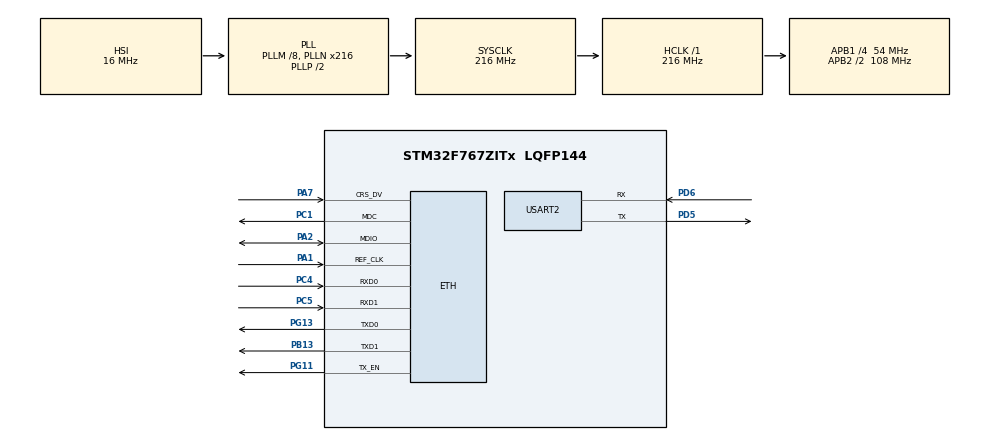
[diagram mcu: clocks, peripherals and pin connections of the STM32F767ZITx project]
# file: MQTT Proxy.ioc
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CORTEX_M7.ART_ACCLERATOR_ENABLE=1
CORTEX_M7.CPU_ICache=Enabled
CORTEX_M7.PREFETCH_ENABLE=1
ETH.MACAddr=82\:2C\:83\:2E\:7B\:5A
ETH.MediaInterface=ETH_MEDIA_INTERFACE_RMII
ETH.PhyAddress=0
FREERTOS.MEMORY_ALLOCATION=2
FREERTOS.Tasks01=defaultTask,0,256,StartDefaultTask,Default,NULL,Dynamic,NULL,NULL;uartTask,0,256,StartUartTask,Default,NULL,Dynamic,NULL,NULL
FREERTOS.configTOTAL_HEAP_SIZE=389120
FREERTOS.configUSE_TIMERS=1
LWIP.GATEWAY_ADDRESS=192.168.000.001
LWIP.IP_ADDRESS=192.168.000.110
LWIP.LWIP_DHCP=0
LWIP.LWIP_DNS=1
LWIP.MEM_SIZE=65536
LWIP.NETMASK_ADDRESS=255.255.255.000
LWIP.Version=v2.1.2_Cube
Mcu.Family=STM32F7
Mcu.Name=STM32F767ZITx
Mcu.Package=LQFP144
Mcu.UserConstants=MQTT_OUTPUT_RINGBUF_SIZE,57344;MQTT_REQ_MAX_IN_FLIGHT,15
NVIC.ETH_IRQn=true\:5\:0\:true\:false\:true\:false\:false\:true
NVIC.PriorityGroup=NVIC_PRIORITYGROUP_4
NVIC.TIM1_UP_TIM10_IRQn=true\:0\:0\:false\:false\:true\:false\:false\:true
NVIC.TimeBase=TIM1_UP_TIM10_IRQn
NVIC.TimeBaseIP=TIM1
NVIC.USART2_IRQn=true\:5\:0\:true\:false\:true\:false\:true\:true
PA1.GPIO_PuPd=GPIO_PULLUP
PA1.Mode=RMII
PA1.Signal=ETH_REF_CLK
PA13.Mode=Serial_Wire
PA13.Signal=SYS_JTMS-SWDIO
PA14.Mode=Serial_Wire
PA14.Signal=SYS_JTCK-SWCLK
PA2.GPIO_PuPd=GPIO_PULLUP
PA2.Mode=RMII
PA2.Signal=ETH_MDIO
PA7.GPIO_PuPd=GPIO_PULLUP
PA7.Mode=RMII
PA7.Signal=ETH_CRS_DV
PB13.GPIO_PuPd=GPIO_PULLUP
PB13.Mode=RMII
PB13.Signal=ETH_TXD1
PC1.GPIO_PuPd=GPIO_PULLUP
PC1.Mode=RMII
PC1.Signal=ETH_MDC
PC14/OSC32_IN.Mode=LSE-External-Oscillator
PC14/OSC32_IN.Signal=RCC_OSC32_IN
PC15/OSC32_OUT.Mode=LSE-External-Oscillator
PC15/OSC32_OUT.Signal=RCC_OSC32_OUT
PC4.GPIO_PuPd=GPIO_PULLUP
PC4.Mode=RMII
PC4.Signal=ETH_RXD0
PC5.GPIO_PuPd=GPIO_PULLUP
PC5.Mode=RMII
PC5.Signal=ETH_RXD1
PD5.Mode=Asynchronous
PD5.Signal=USART2_TX
PD6.Mode=Asynchronous
PD6.Signal=USART2_RX
PG11.GPIO_PuPd=GPIO_PULLUP
PG11.Mode=RMII
PG11.Signal=ETH_TX_EN
PG13.GPIO_PuPd=GPIO_PULLUP
PG13.Mode=RMII
PG13.Signal=ETH_TXD0
PH0/OSC_IN.Mode=HSE-External-Clock-Source
PH0/OSC_IN.Signal=RCC_OSC_IN
PH1/OSC_OUT.Mode=HSE-External-Clock-Source
PH1/OSC_OUT.Signal=RCC_OSC_OUT
ProjectManager.HeapSize=0x200
ProjectManager.StackSize=0x400
ProjectManager.TargetToolchain=STM32CubeIDE
RCC.AHBFreq_Value=216000000
RCC.APB1CLKDivider=RCC_HCLK_DIV4
RCC.APB1Freq_Value=54000000
RCC.APB1TimFreq_Value=108000000
RCC.APB2CLKDivider=RCC_HCLK_DIV2
RCC.APB2Freq_Value=108000000
RCC.APB2TimFreq_Value=216000000
RCC.CortexFreq_Value=216000000
RCC.HCLKFreq_Value=216000000
RCC.HSE_VALUE=25000000
RCC.HSI_VALUE=16000000
RCC.PLLM=8
RCC.PLLN=216
RCC.SYSCLKFreq_VALUE=216000000
RCC.SYSCLKSource=RCC_SYSCLKSOURCE_PLLCLK
RCC.USBFreq_Value=216000000
RCC.VCOOutputFreq_Value=432000000
USART2.VirtualMode-Asynchronous=VM_ASYNC
VP_FREERTOS_VS_CMSIS_V1.Mode=CMSIS_V1
VP_LWIP_VS_Enabled.Mode=Enabled
VP_SYS_VS_tim1.Mode=TIM1
board=custom

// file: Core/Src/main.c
/* USER CODE BEGIN Header */
/**
 ******************************************************************************
 * @file           : main.c
 * @brief          : Main program body
 ******************************************************************************
 * @attention
 *
 * <h2><center>&copy; Copyright (c) 2020 STMicroelectronics.
 * All rights reserved.</center></h2>
 *
 * This software component is licensed by ST under BSD 3-Clause license,
 * the "License"; You may not use this file except in compliance with the
 * License. You may obtain a copy of the License at:
 *                        opensource.org/licenses/BSD-3-Clause
 *
 ******************************************************************************
 */
/* USER CODE END Header */
#include "main.h"
#include "cmsis_os.h"
#include "lwip.h"

/* USER CODE BEGIN Includes */
#include <mqtt.h>
#include <stdio.h>
#include <string.h>
#include "stream_buffer.h"
#include "queue.h"
#include "semphr.h"
#include "timers.h"

#include "buffer.h"
#include "protocol_parser.h"
/* USER CODE END Includes */

/* USER CODE BEGIN PTD */

typedef struct {
	char *topicName;
	uint8_t *data;
	uint32_t dataLenght;
} MQTT_Protocol_t;

/* USER CODE END PTD */

/* USER CODE BEGIN PD */
#define LOG_HEAP 0
#define LOG_ENABLE 0

#define sbiSTREAM_BUFFER_LENGTH_BYTES		( ( size_t ) 100 )
#define sbiSTREAM_BUFFER_TRIGGER_LEVEL_1	( ( BaseType_t ) 1 )

#define qpeekQUEUE_LENGTH (20)

// MQTT_ONLINE_PUBLISH_PERIOD для отправки ID клиента в топик MQTT_ONLINE_TOPIC
#define MQTT_ONLINE_PUBLISH_PERIOD_MS	60000
#define MQTT_CLIENT_ID 					"f2c8eb77-ea6e-4411-bf14-b8a564d17a97"

// Online/Offline
#define MQTT_ONLINE_TOPIC 				"controllers/online"
#define MQTT_OFFLINE_TOPIC				"controllers/offline"

// Telemetry
#define MQTT_TELEMETRY_TOPIC 			MQTT_CLIENT_ID "/data/telemetry"

// Settings
#define MQTT_GET_SETTINGS_TOPIC 		MQTT_CLIENT_ID "/data/settings"
#define MQTT_SET_SETTINGS_TOPIC 		MQTT_CLIENT_ID "/action/settings"

// Gestures
#define MQTT_GET_GESTURES_TOPIC 		MQTT_CLIENT_ID "/data/gestures"
#define MQTT_SAVE_GESTURES_TOPIC 		MQTT_CLIENT_ID "/action/gestures"
#define MQTT_DELETE_GESTURES_TOPIC 		MQTT_CLIENT_ID "/action/gestures/remove"

// Perform gesture
#define MQTT_PERFORM_GESTURE_ID_TOPIC 	MQTT_CLIENT_ID "/action/performGestureId"
#define MQTT_PERFORM_GESTURE_RAW_TOPIC 	MQTT_CLIENT_ID "/action/performGestureRaw"
#define MQTT_SET_POSITIONS_TOPIC 		MQTT_CLIENT_ID "/action/positions"
/* USER CODE END PD */

UART_HandleTypeDef huart2;

osThreadId defaultTaskHandle;
osThreadId uartTaskHandle;
/* USER CODE BEGIN PV */

/* === UART PV === */
/* Receive data */
static uint8_t uartRxData;
/* The stream buffer that is used to send received data from an interrupt to the task. */
static StreamBufferHandle_t xStreamReceiveBuffer = NULL;
static QueueHandle_t xQueueUARTSendMessage = NULL;
static QueueHandle_t xQueueUARTReceiveMessage = NULL;
/* Stores the handle of the task that will be notified when UART receives data or receives a request to send data. */
static TaskHandle_t xTaskToNotifyUartSendAndReceive = NULL;
static TaskHandle_t xTaskToNotifyTelemetryReceive = NULL;
static ProtocolParserStruct protocolParser;

/* === MQTT PV === */
static QueueHandle_t xQueueMQTTSendMessage = NULL;
static QueueHandle_t xQueueMQTTReceiveMessage = NULL;
/* Stores the handle of the task that will be notified when MQTT receives data or receives a request to send data. */
static TaskHandle_t xTaskToNotifyMqttSendAndReceive = NULL;
static char *lastTopicMQTT;
static buffer_t *MQTTdataBuffer = NULL;
static SemaphoreHandle_t xSemaphoreMqttConnect;
static TimerHandle_t xOnlinePublishTimer;
static mqtt_client_t *client;

// TODO: global refactoring
static SemaphoreHandle_t xSemaphoreProsthesisConnect;

/* USER CODE END PV */

void SystemClock_Config(void);
static void MX_GPIO_Init(void);
static void MX_USART2_UART_Init(void);
void StartDefaultTask(void const *argument);
void StartUartTask(void const *argument);

/* USER CODE BEGIN PFP */
void StartProtocolParserTask(void *argument);
void vOnlinePublishCallback(TimerHandle_t xTimer);
/* USER CODE END PFP */

/* USER CODE BEGIN 0 */
int _write(int file, char *ptr, int len) {
	/* Implement your write code here, this is used by puts and printf for example */
	int i = 0;
	for (i = 0; i < len; i++)
		ITM_SendChar((*ptr++));
	return len;
}
/* USER CODE END 0 */

int main(void) {

	/* Enable I-Cache---------------------------------------------------------*/
	SCB_EnableICache();

	/* MCU Configuration--------------------------------------------------------*/

	/* Reset of all peripherals, Initializes the Flash interface and the Systick. */
	HAL_Init();

	/* Configure the system clock */
	SystemClock_Config();

	/* Initialize all configured peripherals */
	MX_GPIO_Init();
	MX_USART2_UART_Init();

	/* USER CODE BEGIN RTOS_SEMAPHORES */
	/* add semaphores, ... */
	xSemaphoreMqttConnect = xSemaphoreCreateBinary();
	xSemaphoreGive(xSemaphoreMqttConnect);

	xSemaphoreProsthesisConnect = xSemaphoreCreateBinary();
	/* USER CODE END RTOS_SEMAPHORES */

	/* USER CODE BEGIN RTOS_TIMERS */
	/* start timers, add new ones, ... */
	xOnlinePublishTimer = xTimerCreate("PublishTimer",
			pdMS_TO_TICKS(MQTT_ONLINE_PUBLISH_PERIOD_MS),
			pdTRUE, (void*) 0, vOnlinePublishCallback);
	/* USER CODE END RTOS_TIMERS */

	/* Create the thread(s) */
	/* definition and creation of defaultTask */
	osThreadDef(defaultTask, StartDefaultTask, osPriorityNormal, 0, 256);
	defaultTaskHandle = osThreadCreate(osThread(defaultTask), NULL);

	/* definition and creation of uartTask */
	osThreadDef(uartTask, StartUartTask, osPriorityNormal, 0, 256);
	uartTaskHandle = osThreadCreate(osThread(uartTask), NULL);

	/* Start scheduler */
	osKernelStart();

	/* We should never get here as control is now taken by the scheduler */
	/* Infinite loop */
	while (1) {

	}
}

void SystemClock_Config(void) {
	RCC_OscInitTypeDef RCC_OscInitStruct = { 0 };
	RCC_ClkInitTypeDef RCC_ClkInitStruct = { 0 };
	RCC_PeriphCLKInitTypeDef PeriphClkInitStruct = { 0 };

	/** Configure LSE Drive Capability
	 */
	HAL_PWR_EnableBkUpAccess();
	/** Configure the main internal regulator output voltage
	 */
	__HAL_RCC_PWR_CLK_ENABLE();
	__HAL_PWR_VOLTAGESCALING_CONFIG(PWR_REGULATOR_VOLTAGE_SCALE1);
	/** Initializes the RCC Oscillators according to the specified parameters
	 * in the RCC_OscInitTypeDef structure.
	 */
	RCC_OscInitStruct.OscillatorType = RCC_OSCILLATORTYPE_HSI;
	RCC_OscInitStruct.HSIState = RCC_HSI_ON;
	RCC_OscInitStruct.HSICalibrationValue = RCC_HSICALIBRATION_DEFAULT;
	RCC_OscInitStruct.PLL.PLLState = RCC_PLL_ON;
	RCC_OscInitStruct.PLL.PLLSource = RCC_PLLSOURCE_HSI;
	RCC_OscInitStruct.PLL.PLLM = 8;
	RCC_OscInitStruct.PLL.PLLN = 216;
	RCC_OscInitStruct.PLL.PLLP = RCC_PLLP_DIV2;
	RCC_OscInitStruct.PLL.PLLQ = 2;
	if (HAL_RCC_OscConfig(&RCC_OscInitStruct) != HAL_OK) {
		Error_Handler();
	}
	/** Activate the Over-Drive mode
	 */
	if (HAL_PWREx_EnableOverDrive() != HAL_OK) {
		Error_Handler();
	}
	/** Initializes the CPU, AHB and APB buses clocks
	 */
	RCC_ClkInitStruct.ClockType = RCC_CLOCKTYPE_HCLK | RCC_CLOCKTYPE_SYSCLK
			| RCC_CLOCKTYPE_PCLK1 | RCC_CLOCKTYPE_PCLK2;
	RCC_ClkInitStruct.SYSCLKSource = RCC_SYSCLKSOURCE_PLLCLK;
	RCC_ClkInitStruct.AHBCLKDivider = RCC_SYSCLK_DIV1;
	RCC_ClkInitStruct.APB1CLKDivider = RCC_HCLK_DIV4;
	RCC_ClkInitStruct.APB2CLKDivider = RCC_HCLK_DIV2;

	if (HAL_RCC_ClockConfig(&RCC_ClkInitStruct, FLASH_LATENCY_7) != HAL_OK) {
		Error_Handler();
	}
	PeriphClkInitStruct.PeriphClockSelection = RCC_PERIPHCLK_USART2;
	PeriphClkInitStruct.Usart2ClockSelection = RCC_USART2CLKSOURCE_PCLK1;
	if (HAL_RCCEx_PeriphCLKConfig(&PeriphClkInitStruct) != HAL_OK) {
		Error_Handler();
	}
}

static void MX_USART2_UART_Init(void) {

	huart2.Instance = USART2;
	huart2.Init.BaudRate = 115200;
	huart2.Init.WordLength = UART_WORDLENGTH_8B;
	huart2.Init.StopBits = UART_STOPBITS_1;
	huart2.Init.Parity = UART_PARITY_NONE;
	huart2.Init.Mode = UART_MODE_TX_RX;
	huart2.Init.HwFlowCtl = UART_HWCONTROL_NONE;
	huart2.Init.OverSampling = UART_OVERSAMPLING_16;
	huart2.Init.OneBitSampling = UART_ONE_BIT_SAMPLE_DISABLE;
	huart2.AdvancedInit.AdvFeatureInit = UART_ADVFEATURE_NO_INIT;
	if (HAL_UART_Init(&huart2) != HAL_OK) {
		Error_Handler();
	}

}

static void MX_GPIO_Init(void) {

	/* GPIO Ports Clock Enable */
	__HAL_RCC_GPIOC_CLK_ENABLE();
	__HAL_RCC_GPIOH_CLK_ENABLE();
	__HAL_RCC_GPIOA_CLK_ENABLE();
	__HAL_RCC_GPIOB_CLK_ENABLE();
	__HAL_RCC_GPIOD_CLK_ENABLE();
	__HAL_RCC_GPIOG_CLK_ENABLE();

}

/* USER CODE BEGIN 4 */
static char *input_topic;

static void mqtt_connection_cb(mqtt_client_t *client, void *arg,
		mqtt_connection_status_t status);
static void mqtt_sub_request_cb(void *arg, err_t result);
static void mqtt_incoming_publish_cb(void *arg, const char *topic,
		u32_t tot_len);
static void mqtt_incoming_data_cb(void *arg, const u8_t *data, u16_t len,
		u8_t flags);
static void mqtt_pub_request_cb(void *arg, err_t result);
void online_publish(mqtt_client_t *client, void *arg);

void mqtt_connect(mqtt_client_t *client) {
	struct mqtt_connect_client_info_t ci;
	err_t err;

#if( LOG_ENABLE == 1 )
	printf("mqtt_connect: start try to connect to 92.53.124.175:1883\n");
#endif
	/* Setup an empty client info structure */
	memset(&ci, 0, sizeof(ci));

	/* Minimal amount of information required is client identifier, so set it here */
	ci.client_id = MQTT_CLIENT_ID;
	ci.will_topic = MQTT_OFFLINE_TOPIC;
	ci.will_retain = 0;
	ci.will_qos = 2;
	ci.will_msg = MQTT_CLIENT_ID;

	ip_addr_t mqttServerIP;
	IP4_ADDR(&mqttServerIP, 92, 53, 124, 175);
	u16_t MQTT_PORT = 1883;

	/* Initiate client and connect to server, if this fails immediately an error code is returned
	 otherwise mqtt_connection_cb will be called with connection result after attempting
	 to establish a connection with the server.
	 For now MQTT version 3.1.1 is always used */

	err = mqtt_client_connect(client, &mqttServerIP, MQTT_PORT,
			mqtt_connection_cb, 0, &ci);

	/* For now just print the result code if something goes wrong */
	if (err != ERR_OK) {
#if( LOG_ENABLE == 1 )
		printf("mqtt_connect return %d\n", err);
#endif /* LOG */
	}
}

/**
 * Подключение прошло успешно.
 */
static void mqtt_connection_cb(mqtt_client_t *client, void *arg,
		mqtt_connection_status_t status) {
	err_t err;
	if (status == MQTT_CONNECT_ACCEPTED) {
#if( LOG_ENABLE == 1 )
		printf("mqtt_connection_cb: Successfully connected\n");
#endif /* LOG */

		/* Setup callback for incoming publish requests */
		mqtt_set_inpub_callback(client, mqtt_incoming_publish_cb,
				mqtt_incoming_data_cb, arg);

		// Подписываемся на все топики, которые нужны
		/* Subscribe to a topic named "serverData" with QoS level 1, call mqtt_sub_request_cb with result */
		err = mqtt_subscribe(client, MQTT_SET_SETTINGS_TOPIC, 1,
				mqtt_sub_request_cb, arg);

		if (err != ERR_OK) {
#if( LOG_ENABLE == 1 )
			printf(
					"MQTT_SET_SETTINGS_TOPIC mqtt_connection_cb: mqtt_subscribe return: %d\n",
					err);
#endif /* LOG */

			Error_Handler();
		}

		err = mqtt_subscribe(client, MQTT_SAVE_GESTURES_TOPIC, 1,
				mqtt_sub_request_cb, arg);

		if (err != ERR_OK) {
#if( LOG_ENABLE == 1 )
			printf(
					"MQTT_SAVE_GESTURES_TOPIC mqtt_connection_cb: mqtt_subscribe return: %d\n",
					err);
#endif /* LOG */
			Error_Handler();
		}

		err = mqtt_subscribe(client, MQTT_DELETE_GESTURES_TOPIC, 1,
				mqtt_sub_request_cb, arg);

		if (err != ERR_OK) {
#if( LOG_ENABLE == 1 )
			printf(
					"MQTT_DELETE_GESTURES_TOPIC mqtt_connection_cb: mqtt_subscribe return: %d\n",
					err);
#endif /* LOG */
			Error_Handler();
		}

		err = mqtt_subscribe(client, MQTT_PERFORM_GESTURE_ID_TOPIC, 1,
				mqtt_sub_request_cb, arg);

		if (err != ERR_OK) {
#if( LOG_ENABLE == 1 )
			printf(
					"MQTT_PERFORM_GESTURE_ID_TOPIC mqtt_connection_cb: mqtt_subscribe return: %d\n",
					err);
#endif /* LOG */
			Error_Handler();
		}

		err = mqtt_subscribe(client, MQTT_PERFORM_GESTURE_RAW_TOPIC, 1,
				mqtt_sub_request_cb, arg);

		if (err != ERR_OK) {
#if( LOG_ENABLE == 1 )
			printf(
					"MQTT_PERFORM_GESTURE_RAW_TOPIC mqtt_connection_cb: mqtt_subscribe return: %d\n",
					err);
#endif /* LOG */
			Error_Handler();
		}

		err = mqtt_subscribe(client, MQTT_SET_POSITIONS_TOPIC, 1,
				mqtt_sub_request_cb, arg);

		if (err != ERR_OK) {
#if( LOG_ENABLE == 1 )
			printf(
					"MQTT_SET_POSITIONS_TOPIC mqtt_connection_cb: mqtt_subscribe return: %d\n",
					err);
#endif /* LOG */
			Error_Handler();
		}

		if (xTimerStart( xOnlinePublishTimer, 500) == pdTRUE) {
#if( LOG_ENABLE == 1 )
			printf("mqtt_connection_cb: Start online publisher\n");
#endif /* LOG */
		}

		// Публикуем в брокер, что мы онлайн в первый раз
		online_publish(client, arg);

		// Оповещеняем основную таску, что клиент подключен
		xSemaphoreGive(xSemaphoreMqttConnect);
	} else {
#if( LOG_ENABLE == 1 )
		printf("mqtt_connection_cb: Disconnected, reason: %d\n", status);
#endif /* LOG */

		xSemaphoreTake(xSemaphoreMqttConnect, portMAX_DELAY);
		/* Its more nice to be connected, so try to reconnect */
		xTimerStop(xOnlinePublishTimer, portMAX_DELAY);
		mqtt_connect(client);
	}
}

static void mqtt_sub_request_cb(void *arg, err_t result) {
	/* Just print the result code here for simplicity,
	 normal behaviour would be to take some action if subscribe fails like
	 notifying user, retry subscribe or disconnect from server */
#if( LOG_ENABLE == 1 )
	printf("mqtt_sub_request_cb: subscribe result is %d\n", result);
#endif /* LOG */
}

static void mqtt_incoming_publish_cb(void *arg, const char *topic,
		u32_t tot_len) {
#if( LOG_ENABLE == 1 )
	printf("Incoming publish at topic %s with total length %u\n", topic,
			(unsigned int) tot_len);
#endif /* LOG */

	// Очищаем предыдущий буфер, если он остался (такого быть по идее не должно, только если пропало соединение)
	if (MQTTdataBuffer != NULL) {
#if( LOG_ENABLE == 1 )
		printf(
				"Receive buffer is set for topic with id %s. Destroy receive buffer with length %d bytes\n",
				lastTopicMQTT, buffer_lenght(MQTTdataBuffer));
#endif /* LOG */
		buffer_destroy(MQTTdataBuffer);
		vPortFree(MQTTdataBuffer);
		MQTTdataBuffer = NULL;
	}

	lastTopicMQTT = input_topic;

	// Определяем id топика для получения данных в mqtt_incoming_data_cb
	/* Decode topic string into a user defined reference */
	if (strcmp(topic, MQTT_SET_SETTINGS_TOPIC) == 0) {
		input_topic = MQTT_SET_SETTINGS_TOPIC;
	} else if (strcmp(topic, MQTT_SAVE_GESTURES_TOPIC) == 0) {
		input_topic = MQTT_SAVE_GESTURES_TOPIC;
	} else if (strcmp(topic, MQTT_DELETE_GESTURES_TOPIC) == 0) {
		input_topic = MQTT_DELETE_GESTURES_TOPIC;
	} else if (strcmp(topic, MQTT_PERFORM_GESTURE_ID_TOPIC) == 0) {
		input_topic = MQTT_PERFORM_GESTURE_ID_TOPIC;
	} else if (strcmp(topic, MQTT_PERFORM_GESTURE_RAW_TOPIC) == 0) {
		input_topic = MQTT_PERFORM_GESTURE_RAW_TOPIC;
	} else if (strcmp(topic, MQTT_SET_POSITIONS_TOPIC) == 0) {
		input_topic = MQTT_SET_POSITIONS_TOPIC;
	} else {
		/* For all other topics */
		input_topic = NULL;
	}

	// Создаем буффер для приема данных.
#if( LOG_ENABLE == 1 )
	printf("Create new receive buffer for topic %s\n", input_topic);
#endif /* LOG */

	MQTTdataBuffer = pvPortMalloc(sizeof(buffer_t));
	buffer_init(MQTTdataBuffer, 0);
}

static void mqtt_incoming_data_cb(void *arg, const u8_t *data, u16_t len,
		u8_t flags) {

	configASSERT(MQTTdataBuffer != NULL);

	buffer_array_add(MQTTdataBuffer, (uint8_t*) data, len);

#if( LOG_HEAP == 1 )
	// Log свободного места в куче после приема данных
	printf("[MQTT Heap] Receive bytes %d\n", len);
	printf("[MQTT Heap] FreeHeap %d\n", xPortGetFreeHeapSize());
	printf("[MQTT Heap] MinimumEver %d\n", xPortGetMinimumEverFreeHeapSize());
#endif /* LOG_HEAP */

	if (flags & MQTT_DATA_FLAG_LAST) {
		/* Last fragment of payload received (or whole part if payload fits receive buffer
		 See MQTT_VAR_HEADER_BUFFER_LEN)  */

#if( LOG_ENABLE == 1 )
		printf("Incoming publish payload with length %d, flags %u\n", len,
				(unsigned int) flags);
#endif /* LOG */

		/* Call function or do action depending on reference, in this case inpub_id */
		if (input_topic != NULL) {
			/* Don't trust the publisher, check zero termination */
			int size = buffer_lenght(MQTTdataBuffer);
			uint8_t *payload = MQTTdataBuffer->data;
			MQTTdataBuffer->data = NULL;
			vPortFree(MQTTdataBuffer);
			MQTTdataBuffer = NULL;

			MQTT_Protocol_t sendData;
			sendData.topicName = input_topic;
			sendData.data = payload;
			sendData.dataLenght = size;
			xQueueSend(xQueueMQTTReceiveMessage, &sendData, 0);

			// Оповещаем MQTT таску, что пришли новые данные.
			xTaskNotifyGive(xTaskToNotifyMqttSendAndReceive);
		} else {
#if( LOG_ENABLE == 1 )
			printf("mqtt_incoming_data_cb: Ignoring payload...\n");
#endif /* LOG */
		}
	} else {
		/* Handle fragmented payload, store in buffer, write to file or whatever */
	}
}

void vOnlinePublishCallback(TimerHandle_t xTimer) {
	if (xSemaphoreTake(xSemaphoreMqttConnect, 1000) == pdTRUE) {
		online_publish(client, (void*) 0);
		xSemaphoreGive(xSemaphoreMqttConnect);
	}
}

void online_publish(mqtt_client_t *client, void *arg) {
	err_t err;
	u8_t qos = 2;
	u8_t retain = 0;
	err = mqtt_publish(client, MQTT_ONLINE_TOPIC, MQTT_CLIENT_ID,
			strlen(MQTT_CLIENT_ID), qos, retain, mqtt_pub_request_cb, arg);

#if( LOG_ENABLE == 1 )
	printf("online_publish: Send online status\n");
#endif /* LOG */

	if (err != ERR_OK) {
#if( LOG_ENABLE == 1 )
		printf("Publish online err: %d\n", err);
#endif /* LOG */
	}
}

/* Called when publish is complete either with sucess or failure */
static void mqtt_pub_request_cb(void *arg, err_t result) {
	if (result != ERR_OK) {
#if( LOG_ENABLE == 1 )
		printf("Publish result: %d\n", result);
#endif /* LOG */
	}
}

/* This callback is called by the HAL_UART_IRQHandler when the given number of bytes are received */
void HAL_UART_RxCpltCallback(UART_HandleTypeDef *huart) {
	if (huart->Instance == USART2) {
		/* Send the next four bytes to the stream buffer. */
		xStreamBufferSendFromISR(xStreamReceiveBuffer, (void*) &uartRxData, 1,
		NULL);

		/* Receive one byte in interrupt mode */
		HAL_UART_Receive_IT(&huart2, &uartRxData, 1);
	}
}

// Таска для парсинга протокола протеза.
void StartProtocolParserTask(void *pvParameters) {
	configASSERT(xStreamReceiveBuffer != NULL);

	ProtocolParser_Init(&protocolParser);
	bool isFirstTelemetry = true;

	for (;;) {
		uint8_t receivedData;
		xStreamBufferReceive(xStreamReceiveBuffer, (void*) &receivedData, 1,
		portMAX_DELAY);

		ProtocolParser_Update(&protocolParser, receivedData, HAL_GetTick());

		if (protocolParser.state == PROTOCOL_PARSER_RECEIVED) {
			ProtocolPackageStruct package;
			ProtocolParser_PopPackage(&protocolParser, &package);

			if (package.type != PROTOCOL_COMMAND_TELEMETRY)
			{
#if( LOG_ENABLE == 1 )
				printf("[Parser] New protocol command received: %d (%u bytes)\n",
						package.type, (unsigned int) package.size);
#endif /* LOG */
			}

			// Телеметрию шлем напрямую
			if (package.type == PROTOCOL_COMMAND_TELEMETRY) {
				if (xQueueMQTTSendMessage != NULL) {
					MQTT_Protocol_t mqttSendData;

					mqttSendData.topicName = MQTT_TELEMETRY_TOPIC;
					mqttSendData.data = package.payload;
					mqttSendData.dataLenght = package.size;

					xQueueSend(xQueueMQTTSendMessage, &mqttSendData,
							portMAX_DELAY);
				}
				// Оповещаем MQTT таску, что данные готовы.

				if (isFirstTelemetry == true) {
#if( LOG_ENABLE == 1 )
					printf("[Parser] First telemetry received\n");
#endif /* LOG */

					xSemaphoreGive(xSemaphoreProsthesisConnect);
					isFirstTelemetry = false;
				}

				xTaskNotifyGive(xTaskToNotifyMqttSendAndReceive);
			} else {
				xQueueSend(xQueueUARTReceiveMessage, &package, portMAX_DELAY);
				// Оповещаем UART таску, что приняты данные с протеза.
				xTaskNotifyGive(xTaskToNotifyUartSendAndReceive);
			}
		}
	}

	/* Tasks must not attempt to return from their implementing
	 function or otherwise exit.  In newer FreeRTOS port
	 attempting to do so will result in an configASSERT() being
	 called if it is defined.  If it is necessary for a task to
	 exit then have the task call vTaskDelete( NULL ) to ensure
	 its exit is clean. */
	vTaskDelete( NULL);
}
/* USER CODE END 4 */

void StartDefaultTask(void const *argument) {
	/* init code for LWIP */
	MX_LWIP_Init();
	/* USER CODE BEGIN 5 */

	// Initialize MQTT queue
	xQueueMQTTReceiveMessage = xQueueCreate(qpeekQUEUE_LENGTH,
			sizeof(MQTT_Protocol_t));

#if( LOG_ENABLE == 1 )
	printf("[MQTT Task] Start MQTT\n");
#endif /* LOG */

	xTaskToNotifyMqttSendAndReceive = xTaskGetCurrentTaskHandle();
	client = mqtt_client_new();

	// Ожидаем подключения протеза
#if( LOG_ENABLE == 1 )
	printf("[MQTT Task] Wait Prosthesis connect\n");
#endif /* LOG */

	xSemaphoreTake(xSemaphoreProsthesisConnect, portMAX_DELAY);
	xSemaphoreGive(xSemaphoreProsthesisConnect);
	if (client != NULL) {
		mqtt_connect(client);
	} else {
#if( LOG_ENABLE == 1 )
		printf("Error creating MQTT client\n");
#endif /* LOG */
	}

	configASSERT(client != NULL);

	// Ожидаем пока MQTT клиент будет запущен
#if( LOG_ENABLE == 1 )
	printf("[MQTT Task] Wait MQTT client start\n");
#endif /* LOG */

	xSemaphoreTake(xSemaphoreMqttConnect, portMAX_DELAY);
	xSemaphoreGive(xSemaphoreMqttConnect);

	xQueueMQTTSendMessage = xQueueCreate(qpeekQUEUE_LENGTH,
			sizeof(MQTT_Protocol_t));

#if( LOG_ENABLE == 1 )
	printf("[MQTT Task] Start receive MQTT data\n");
#endif /* LOG */

	/* Infinite loop */
	for (;;) {

		ulTaskNotifyTake(pdFALSE, portMAX_DELAY);
		//printf("[MQTT Task] start handle notification\n");

		// Смотрим очередь отправки на сервер
		if (uxQueueMessagesWaiting(xQueueMQTTSendMessage)) {
			MQTT_Protocol_t mqttSendData;
			if (xQueueReceive(xQueueMQTTSendMessage, &mqttSendData,
					(TickType_t) 0) == pdPASS) {

				if (strcmp(mqttSendData.topicName, MQTT_TELEMETRY_TOPIC) != 0)
				{
#if( LOG_ENABLE == 1 )
					printf(
							"[MQTT Task] Required send new MQTT data (%u bytes) on topic `%s`\n",
							(unsigned int) mqttSendData.dataLenght,
							mqttSendData.topicName);
#endif /* LOG */
				}

				err_t err = mqtt_publish(client, mqttSendData.topicName,
						mqttSendData.data, mqttSendData.dataLenght, 2, 0,
						mqtt_pub_request_cb, 0);
				if (err == ERR_OK) {
					//printf("[MQTT Task] Publish success\n");
				} else {
#if( LOG_ENABLE == 1 )
					printf("[MQTT Task] Publish err: %d\n", err);
#endif /* LOG */
				}

				vPortFree(mqttSendData.data);
			}
		}

		// Смотрим очередь приема с сервера
		if (uxQueueMessagesWaiting(xQueueMQTTReceiveMessage)) {
			MQTT_Protocol_t mqttReceiveData;
			if (xQueueReceive(xQueueMQTTReceiveMessage, &mqttReceiveData,
					(TickType_t) 0) == pdPASS) {

#if( LOG_ENABLE == 1 )
				printf(
						"[MQTT Task] Receive new data from topic %s with length: %u\n",
						mqttReceiveData.topicName,
						(unsigned int) mqttReceiveData.dataLenght);
#endif /* LOG */

				// Формируем пакет данных для отправки по UART
				enum ProtocolCommandType type = PROTOCOL_COMMAND_EMPTY;

				char *topic = mqttReceiveData.topicName;
				if (strcmp(topic, MQTT_SET_SETTINGS_TOPIC) == 0) {
					type = PROTOCOL_COMMAND_SET_SETTINGS;
				} else if (strcmp(topic, MQTT_SAVE_GESTURES_TOPIC) == 0) {
					type = PROTOCOL_COMMAND_SAVE_GESTURES;
				} else if (strcmp(topic, MQTT_DELETE_GESTURES_TOPIC) == 0) {
					type = PROTOCOL_COMMAND_DELETE_GESTURES;
				} else if (strcmp(topic, MQTT_PERFORM_GESTURE_ID_TOPIC) == 0) {
					type = PROTOCOL_COMMAND_PERFORM_GESTURE_ID;
				} else if (strcmp(topic, MQTT_PERFORM_GESTURE_RAW_TOPIC) == 0) {
					type = PROTOCOL_COMMAND_PERFORM_GESTURE_RAW;
				} else if (strcmp(topic, MQTT_SET_POSITIONS_TOPIC) == 0) {
					type = PROTOCOL_COMMAND_SET_POSITIONS;
				}

				configASSERT(type != PROTOCOL_COMMAND_EMPTY);

				ProtocolPackageStruct package = ProtocolParser_CreatePackage(
						type, mqttReceiveData.data, mqttReceiveData.dataLenght);

				xQueueSend(xQueueUARTSendMessage, &package, portMAX_DELAY);

				// Оповещаем UART таску, что данные готовы.
				xTaskNotifyGive(xTaskToNotifyUartSendAndReceive);
			}
		}
	}
	/* USER CODE END 5 */
}

void StartUartTask(void const *argument) {
	/* USER CODE BEGIN StartUartTask */
	/* Infinite loop */
	// Создаем стрим для UART
	xStreamReceiveBuffer = xStreamBufferCreate(sbiSTREAM_BUFFER_LENGTH_BYTES,
			sbiSTREAM_BUFFER_TRIGGER_LEVEL_1);

	// Создаем очереди приема/передачи
	xQueueUARTReceiveMessage = xQueueCreate(qpeekQUEUE_LENGTH,
			sizeof(ProtocolPackageStruct));

	xQueueUARTSendMessage = xQueueCreate(qpeekQUEUE_LENGTH,
			sizeof(ProtocolPackageStruct));

	xTaskToNotifyUartSendAndReceive = xTaskGetCurrentTaskHandle();
	xTaskToNotifyTelemetryReceive = xTaskGetCurrentTaskHandle();

	// Создаем таску для парсинга протокола
	BaseType_t xReturned;
	TaskHandle_t xHandle = NULL;
	xReturned = xTaskCreate(StartProtocolParserTask, "protocolPareserTask", 256,
	NULL, osPriorityNormal, &xHandle);

	if (xReturned == pdPASS) {
		/* The task was created. */
#if( LOG_ENABLE == 1 )
		printf("[UART Task] the protocol parser task was create\n");
#endif /* LOG */
	}

	configASSERT(xReturned == pdPASS);

	// Активируем прерывание UART.
	HAL_UART_Receive_IT(&huart2, &uartRxData, 1);
#if( LOG_ENABLE == 1 )
	printf("[UART Task] start UART interrupt and receive data\n");
#endif /* LOG */

	// Ожидаем подключеия протеза.
#if( LOG_ENABLE == 1 )
	printf("[UART Task] Wait Prosthesis connect\n");
#endif /* LOG */

	xSemaphoreTake(xSemaphoreProsthesisConnect, portMAX_DELAY);
	xSemaphoreGive(xSemaphoreProsthesisConnect);

	// Ожидаем пока MQTT клиент будет запущен
#if( LOG_ENABLE == 1 )
	printf("[UART Task] Wait MQTT client start\n");
#endif /* LOG */

	xSemaphoreTake(xSemaphoreMqttConnect, portMAX_DELAY);
	xSemaphoreGive(xSemaphoreMqttConnect);

	// Запросы на GetSettings и GetGestures
	ProtocolPackageStruct gesturesPackage = ProtocolParser_CreatePackage(PROTOCOL_COMMAND_GET_GESTURES, NULL, 0);
	ProtocolPackageStruct settingsPackage = ProtocolParser_CreatePackage(PROTOCOL_COMMAND_GET_SETTINGS, NULL, 0);
	xQueueSend(xQueueUARTSendMessage, &gesturesPackage, portMAX_DELAY);
	xQueueSend(xQueueUARTSendMessage, &settingsPackage, portMAX_DELAY);

#if( LOG_ENABLE == 1 )
	printf("[UART Task] start receive data\n");
#endif /* LOG */

	for (;;) {
		// Если очереди пусты, то ждем
		if (!(uxQueueMessagesWaiting(xQueueUARTSendMessage) || uxQueueMessagesWaiting(xQueueUARTReceiveMessage)))
		{
			ulTaskNotifyTake(pdFALSE, portMAX_DELAY);
		}

#if( LOG_ENABLE == 1 )
		printf("[UART Task] start handle notification\n");
#endif /* LOG */

		// Смотрим очередь отправки на протез
		if (uxQueueMessagesWaiting(xQueueUARTSendMessage)) {
			ProtocolPackageStruct sendData;
			if (xQueueReceive(xQueueUARTSendMessage, &sendData,
					(TickType_t) 0) == pdPASS) {

#if( LOG_ENABLE == 1 )
				printf(
						"[UART Task] Required send new UART data (%u bytes), command %d\n",
						(unsigned int) sendData.size, sendData.type);
#endif /* LOG */

				buffer_t package;
				buffer_init(&package, ProtocolParser_GetCommonSize(&sendData));
				ProtocolParser_AddPackageToBuffer(&sendData, &package);

				HAL_UART_Transmit(&huart2, package.data, package.length, 5000);

				buffer_destroy(&package);

				ProtocolPackageStruct response;
				if (xQueueReceive(xQueueUARTReceiveMessage, &response,
						pdMS_TO_TICKS(5000)) != pdPASS) {
#if( LOG_ENABLE == 1 )
					printf("[UART Task] response timeout\n");
#endif /* LOG */
					continue;
				}

				if (response.type == PROTOCOL_COMMAND_ERR
						|| response.type == PROTOCOL_COMMAND_EMPTY) {
#if( LOG_ENABLE == 1 )
					printf("[UART Task] response error\n");
#endif /* LOG */
					continue;
				}

				if (response.type != PROTOCOL_COMMAND_ERR) {
#if( LOG_ENABLE == 1 )
					printf("[UART Task] Prosthesis send response\n");
#endif /* LOG */

					if (sendData.type == PROTOCOL_COMMAND_SAVE_GESTURES || sendData.type == PROTOCOL_COMMAND_DELETE_GESTURES)
					{
						xQueueSend(xQueueUARTSendMessage, &gesturesPackage, portMAX_DELAY);
					}

					if (sendData.type == PROTOCOL_COMMAND_SET_SETTINGS)
					{
						xQueueSend(xQueueUARTSendMessage, &settingsPackage, portMAX_DELAY);
					}

					if (response.type != PROTOCOL_COMMAND_ACK)
					{
#if( LOG_ENABLE == 1 )
						printf("[UART Task] Response %d sending to uart receive queue\n", response.type);
#endif /* LOG */

						xQueueSend(xQueueUARTReceiveMessage, &response,
								portMAX_DELAY);
						// Оповещаем UART таску, что данные готовы.
						xTaskNotifyGive(xTaskToNotifyUartSendAndReceive);
					}
				} else
				{
#if( LOG_ENABLE == 1 )
					printf("[UART Task] Error response\n");
#endif /* LOG */
				}

				vPortFree(sendData.payload);
			}
		}

		// Смотрим очередь приема с протеза
		if (uxQueueMessagesWaiting(xQueueUARTReceiveMessage)) {
			ProtocolPackageStruct receiveData;
			if (xQueueReceive(xQueueUARTReceiveMessage, &receiveData,
					(TickType_t) 0) == pdPASS) {

#if( LOG_ENABLE == 1 )
				printf(
						"[UART Task] Receive new data with length: %u bytes and command %d\n",
						(unsigned int) receiveData.size, receiveData.type);
#endif /* LOG */

				MQTT_Protocol_t mqttSendData;

				switch (receiveData.type) {
				case PROTOCOL_COMMAND_GET_GESTURES:
					mqttSendData.topicName = MQTT_GET_GESTURES_TOPIC;
					break;
				case PROTOCOL_COMMAND_GET_SETTINGS:
					mqttSendData.topicName = MQTT_GET_SETTINGS_TOPIC;
					break;
				default:
					mqttSendData.topicName = NULL;
					break;
				}

				configASSERT(mqttSendData.topicName);

				mqttSendData.data = receiveData.payload;
				mqttSendData.dataLenght = receiveData.size;

				if (xQueueMQTTSendMessage != NULL)
				{
					xQueueSend(xQueueMQTTSendMessage, &mqttSendData, portMAX_DELAY);
					// Оповещаем MQTT таску, что данные готовы.
					xTaskNotifyGive(xTaskToNotifyMqttSendAndReceive);
				}

			}
		}
	}
	/* USER CODE END StartUartTask */
}

void HAL_TIM_PeriodElapsedCallback(TIM_HandleTypeDef *htim) {
	if (htim->Instance == TIM1) {
		HAL_IncTick();
	}
}

void Error_Handler(void) {
}

/************************ (C) COPYRIGHT STMicroelectronics *****END OF FILE****/

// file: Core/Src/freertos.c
/* USER CODE BEGIN Header */
/**
 ******************************************************************************
 * File Name          : freertos.c
 * Description        : Code for freertos applications
 ******************************************************************************
 * @attention
 *
 * <h2><center>&copy; Copyright (c) 2020 STMicroelectronics.
 * All rights reserved.</center></h2>
 *
 * This software component is licensed by ST under Ultimate Liberty license
 * SLA0044, the "License"; You may not use this file except in compliance with
 * the License. You may obtain a copy of the License at:
 *                             www.st.com/SLA0044
 *
 ******************************************************************************
 */
/* USER CODE END Header */

#include "FreeRTOS.h"
#include "task.h"
#include "main.h"

/* GetIdleTaskMemory prototype (linked to static allocation support) */
void vApplicationGetIdleTaskMemory(StaticTask_t **ppxIdleTaskTCBBuffer,
		StackType_t **ppxIdleTaskStackBuffer, uint32_t *pulIdleTaskStackSize);

/* GetTimerTaskMemory prototype (linked to static allocation support) */
void vApplicationGetTimerTaskMemory(StaticTask_t **ppxTimerTaskTCBBuffer,
		StackType_t **ppxTimerTaskStackBuffer, uint32_t *pulTimerTaskStackSize);

/* USER CODE BEGIN GET_IDLE_TASK_MEMORY */
static StaticTask_t xIdleTaskTCBBuffer;
static StackType_t xIdleStack[configMINIMAL_STACK_SIZE];

void vApplicationGetIdleTaskMemory(StaticTask_t **ppxIdleTaskTCBBuffer,
		StackType_t **ppxIdleTaskStackBuffer, uint32_t *pulIdleTaskStackSize) {
	*ppxIdleTaskTCBBuffer = &xIdleTaskTCBBuffer;
	*ppxIdleTaskStackBuffer = &xIdleStack[0];
	*pulIdleTaskStackSize = configMINIMAL_STACK_SIZE;
	/* place for user code */
}
/* USER CODE END GET_IDLE_TASK_MEMORY */

/* USER CODE BEGIN GET_TIMER_TASK_MEMORY */
static StaticTask_t xTimerTaskTCBBuffer;
static StackType_t xTimerStack[configTIMER_TASK_STACK_DEPTH];

void vApplicationGetTimerTaskMemory(StaticTask_t **ppxTimerTaskTCBBuffer,
		StackType_t **ppxTimerTaskStackBuffer, uint32_t *pulTimerTaskStackSize) {
	*ppxTimerTaskTCBBuffer = &xTimerTaskTCBBuffer;
	*ppxTimerTaskStackBuffer = &xTimerStack[0];
	*pulTimerTaskStackSize = configTIMER_TASK_STACK_DEPTH;
	/* place for user code */
}
/* USER CODE END GET_TIMER_TASK_MEMORY */

/************************ (C) COPYRIGHT STMicroelectronics *****END OF FILE****/
